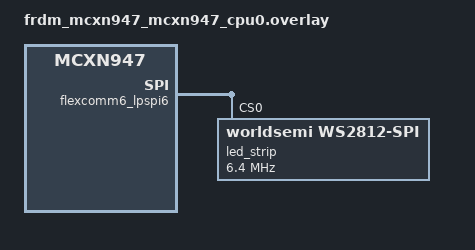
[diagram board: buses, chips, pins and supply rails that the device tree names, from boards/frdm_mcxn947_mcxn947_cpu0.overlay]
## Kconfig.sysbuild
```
source "share/sysbuild/Kconfig"

config SECONDARY_BOARD
    string "Second CPU"
    default "frdm_mcxn947/mcxn947/cpu1" if $(BOARD) = "frdm_mcxn947"
```

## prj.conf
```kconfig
CONFIG_COMPILER_WARNINGS_AS_ERRORS=y
CONFIG_ENTROPY_GENERATOR=y
CONFIG_FPU=y
CONFIG_GPIO=y
CONFIG_KERNEL_BIN_NAME="lightRemoteCpu0"
CONFIG_LED_STRIP=y
CONFIG_LOG=y
CONFIG_MBOX=y
CONFIG_OUTPUT_DISASSEMBLY=y
CONFIG_SPI=y
CONFIG_STD_C17=y
```

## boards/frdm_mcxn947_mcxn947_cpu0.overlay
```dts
// See build/zephyr/zephyr.dts for the full compiled device tree.

#include <zephyr/dt-bindings/led/led.h>

/ {
    aliases {
        green-led = &green_led;
        led-strip = &led_strip;
        red-led = &red_led;
    };

    mbox-consumer {
        compatible = "vnd,mbox-consumer";
        mboxes = <&mbox 1>, <&mbox 0>;
        mbox-names = "tx", "rx";
    };
};

&flexcomm6_lpspi6 {
    status = "okay";

    led_strip: ws2812@0 {
        status = "okay";
        compatible = "worldsemi,ws2812-spi";
        reg = <0>;
        spi-max-frequency = <6400000>;

        chain-length = <150>;
        spi-one-frame = <0xF0>;
        spi-zero-frame = <0xC0>;
        color-mapping = <LED_COLOR_ID_GREEN
                         LED_COLOR_ID_RED
                         LED_COLOR_ID_BLUE>;
    };
};
```

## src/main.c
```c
#include <stdio.h>
#include <string.h>

#include <zephyr/device.h>
#include <zephyr/drivers/gpio.h>
#include <zephyr/drivers/led_strip.h>
#include <zephyr/drivers/mbox.h>
#include <zephyr/drivers/spi.h>
#include <zephyr/kernel.h>
#include <zephyr/sys/printk.h>
#include <zephyr/sys/util.h>

#define LOG_LEVEL 4
#include <zephyr/logging/log.h>
LOG_MODULE_REGISTER(main);

#include "algorithm.h"
#include "params.h"

static const struct gpio_dt_spec red_led = GPIO_DT_SPEC_GET(DT_ALIAS(red_led), gpios);
static const struct gpio_dt_spec green_led = GPIO_DT_SPEC_GET(DT_ALIAS(green_led), gpios);

#define STRIP_NODE DT_ALIAS(led_strip)

#if DT_NODE_HAS_PROP(DT_ALIAS(led_strip), chain_length)
#define STRIP_NUM_PIXELS DT_PROP(DT_ALIAS(led_strip), chain_length)
#else
#error Unable to determine length of LED strip
#endif

#define DELAY_TIME K_MSEC(CONFIG_SAMPLE_LED_UPDATE_DELAY)

static struct led_rgb pixels[STRIP_NUM_PIXELS];

static const struct device* const strip = DEVICE_DT_GET(STRIP_NODE);

static void callback(const struct device* dev,
                     mbox_channel_id_t channel_id,
                     void* user_data,
                     struct mbox_msg* data)
{
    gpio_pin_set_dt(&red_led, 0);
    // gpio_pin_toggle_dt(&green_led);
}

Config TheConfig = {
    .delta = 1.0 / 2000.0,
    .scalingRoot = 2.0,
    .restoringForce = 0.1,
    .mass = 5.0,
    .friction = 1 - 0.015,
};

Params TheParams = {
    .hue = 0.0,
    .sat = 1.0,
    .val = 1.0,
    .dh = 0.1,
    .ds = 0.1,
    .dv = 0.1,
    .temp = 0.15,
};

Algorithm TheAlgorithm;

float fract(float x)
{
    return x - (int)x;
}

float mix(float a, float b, float t)
{
    return a + (b - a) * t;
}

float step(float e, float x)
{
    return x < e ? 0.0 : 1.0;
}

float constrain(float x, float a, float b)
{
    if (x < a) {
        return a;
    } else if (x > b) {
        return b;
    } else {
        return x;
    }
}

float absf(float x)
{
    if (x < 0.0f) {
        return -x;
    } else {
        return x;
    }
}

int main(void)
{
    printk("CPU0 main()\n");

    int ret;

    if (!gpio_is_ready_dt(&red_led) || !gpio_is_ready_dt(&green_led)) {
        return 0;
    }

    ret = gpio_pin_configure_dt(&red_led, GPIO_OUTPUT);
    if (ret) {
        return 0;
    }

    ret = gpio_pin_configure_dt(&green_led, GPIO_OUTPUT);
    if (ret) {
        return 0;
    }

    ret = gpio_pin_set_dt(&green_led, 0);
    if (ret) {
        return 0;
    }

    if (!device_is_ready(strip)) {
        return 0;
    }

    const struct mbox_dt_spec rx_channel = MBOX_DT_SPEC_GET(DT_PATH(mbox_consumer), rx);
    const struct mbox_dt_spec tx_channel = MBOX_DT_SPEC_GET(DT_PATH(mbox_consumer), tx);

    printk("Maximum RX channels: %d\n", mbox_max_channels_get_dt(&rx_channel));

    ret = mbox_register_callback_dt(&rx_channel, callback, NULL);
    if (ret < 0) {
        return 0;
    }

    ret = mbox_set_enabled_dt(&rx_channel, true);
    if (ret < 0) {
        return 0;
    }

    printk("Maximum bytes of data in the TX message: %d\n", mbox_mtu_get_dt(&tx_channel));
    printk("Maximum TX channels: %d\n", mbox_max_channels_get_dt(&tx_channel));

    algorithm_init(&TheAlgorithm, &TheConfig, &TheParams);

    gpio_pin_set_dt(&red_led, 0);

    while (1) {
        algorithm_update(&TheAlgorithm);

        for (size_t i = 0; i < ARRAY_SIZE(pixels); i++) {
            float red = TheAlgorithm.val[i] * mix(1.0f, constrain(absf(fract(TheAlgorithm.hue[i] + 1.0f) * 6.0f - 3.0f) - 1.0f, 0.0f, 1.0f), TheAlgorithm.sat[i]);
            float grn = TheAlgorithm.val[i] * mix(1.0f, constrain(absf(fract(TheAlgorithm.hue[i] + 0.6666666f) * 6.0f - 3.0f) - 1.0f, 0.0f, 1.0f), TheAlgorithm.sat[i]);
            float blu = TheAlgorithm.val[i] * mix(1.0f, constrain(absf(fract(TheAlgorithm.hue[i] + 0.3333333f) * 6.0f - 3.0f) - 1.0f, 0.0f, 1.0f), TheAlgorithm.sat[i]);

            // When I scale all the way to 256, the pixels glitch out. Voltage drop? SPI timing?
            pixels[i].r = red * 100;
            pixels[i].g = grn * 100;
            pixels[i].b = blu * 100;
        }

        led_strip_update_rgb(strip, pixels, STRIP_NUM_PIXELS);

        ret = mbox_send_dt(&tx_channel, NULL);
        if (ret) {
            return 0;
        }
        gpio_pin_set_dt(&red_led, 1);

        k_msleep(2000);
    }

    return 0;
}
```
